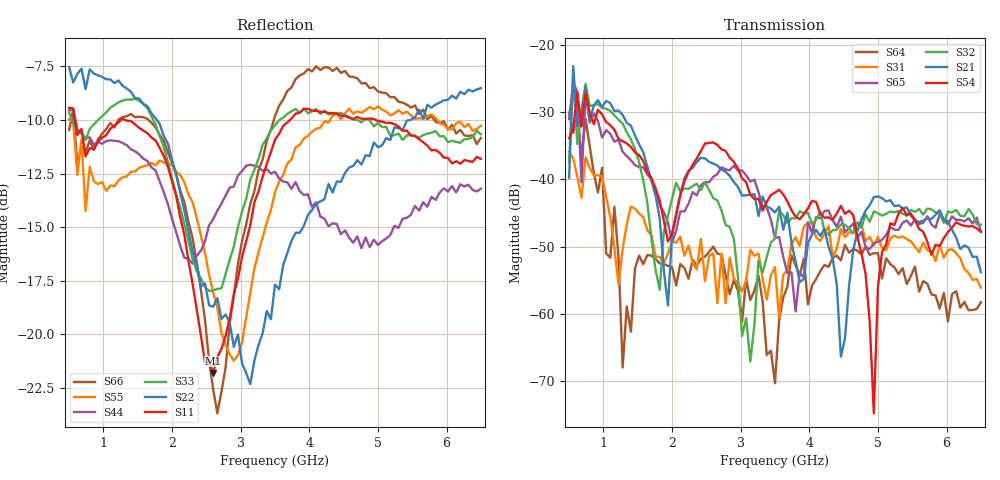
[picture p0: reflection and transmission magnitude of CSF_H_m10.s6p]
!Keysight Technologies,M9804A,MY58100912,A.14.10.03
!Date: Thursday, April 27, 2023 10:28:33
!Correction: S11(C  6-Port  )
!S12(C  6-Port  )
!S13(C  6-Port  )
!S14(C  6-Port  )
!S15(C  6-Port  )
!S16(C  6-Port  )
!S21(C  6-Port  )
!S22(C  6-Port  )
!S23(C  6-Port  )
!S24(C  6-Port  )
!S25(C  6-Port  )
!S26(C  6-Port  )
!S31(C  6-Port  )
!S32(C  6-Port  )
!S33(C  6-Port  )
!S34(C  6-Port  )
!S35(C  6-Port  )
!S36(C  6-Port  )
!S41(C  6-Port  )
!S42(C  6-Port  )
!S43(C  6-Port  )
!S44(C  6-Port  )
!S45(C  6-Port  )
!S46(C  6-Port  )
!S51(C  6-Port  )
!S52(C  6-Port  )
!S53(C  6-Port  )
!S54(C  6-Port  )
!S55(C  6-Port  )
!S56(C  6-Port  )
!S61(C  6-Port  )
!S62(C  6-Port  )
!S63(C  6-Port  )
!S64(C  6-Port  )
!S65(C  6-Port  )
!S66(C  6-Port  )
!S6P File: Measurement: :
# Hz S  RI  R 50
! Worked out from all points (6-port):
!   101 points, 500 MHz to 6.5 GHz, reference 50 ohm
!   strongest paths, dB at 500 MHz, 2 GHz, 3.5 GHz, 5 GHz, 6.5 GHz:
!     S54: -33.9, -48.2, -42.0, -56.0, -47.8
!     S21: -39.8, -48.2, -44.9, -42.5, -53.8
!     S32: -37.5, -42.9, -48.8, -45.1, -46.8
!     S65: -31.0, -49.5, -48.8, -49.3, -47.8
!     S31: -35.9, -49.2, -53.0, -48.6, -56.1
!     S64: -30.1, -53.1, -70.3, -51.0, -58.3
!   lowest |S11| = -21.8 dB at 2.6 GHz (marker M1), VSWR 1.18, Z = 42.7 + j1.9 ohm
!   |S11| at or under -10 dB: 585.9 MHz to 1.263 GHz (677.4 MHz wide, 73.3 % of centre); 1.312 GHz to 3.72 GHz (2.407 GHz wide, 95.7 % of centre); 4.965 GHz to end of sweep
